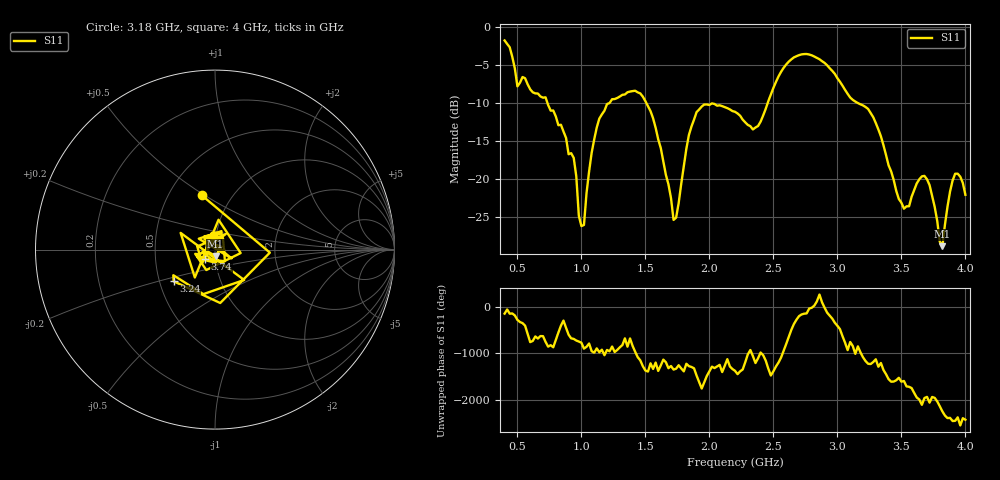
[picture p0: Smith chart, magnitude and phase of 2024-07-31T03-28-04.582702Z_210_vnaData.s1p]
!Created with skrf (http://scikit-rf.org).
# Hz S RI R 50.0
!freq ReS11 ImS11
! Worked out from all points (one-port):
!   181 points, 400 MHz to 4 GHz, reference 50 ohm
!   lowest |S11| = -28.8 dB at 3.82 GHz (marker M1), VSWR 1.08, Z = 50.2 - j3.64 ohm
!   |S11| at or under -10 dB: 735.5 MHz to 1.215 GHz (479.3 MHz wide, 49.1 % of centre); 1.508 GHz to 2.455 GHz (946.3 MHz wide, 47.8 % of centre); 3.164 GHz to end of sweep
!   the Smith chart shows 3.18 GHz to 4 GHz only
!   S11 on the Smith chart (normalised r, x): 3.18 GHz: 0.73, +0.49; 3.24 GHz: 0.59, -0.23; 3.74 GHz: 0.89, -0.10; 4 GHz: 0.97, +0.15
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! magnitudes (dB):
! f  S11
! 400 MHz  -1.7
! 500 MHz  -7.8
! 720 MHz  -9.2
! 860 MHz  -13.7
! 940 MHz  -17.2
! 980 MHz  -24.8
! 1.02 GHz  -26.0
! 1.12 GHz  -13.2
! 1.3 GHz  -9.1
! 1.5 GHz  -9.7
! 1.62 GHz  -15.9
! 1.72 GHz  -25.3
! 1.76 GHz  -23.1
! 1.9 GHz  -11.2
! 2.2 GHz  -11.1
! 2.38 GHz  -13.0
! 2.66 GHz  -4.0
! 2.86 GHz  -4.2
! 3.1 GHz  -9.2
! 3.18 GHz  -10.1
! 3.24 GHz  -10.7
! 3.48 GHz  -22.6
! 3.56 GHz  -23.5
! 3.66 GHz  -19.6
! 3.74 GHz  -22.2
! 3.82 GHz  -28.8
! 3.92 GHz  -19.3
! 4 GHz  -22.0
